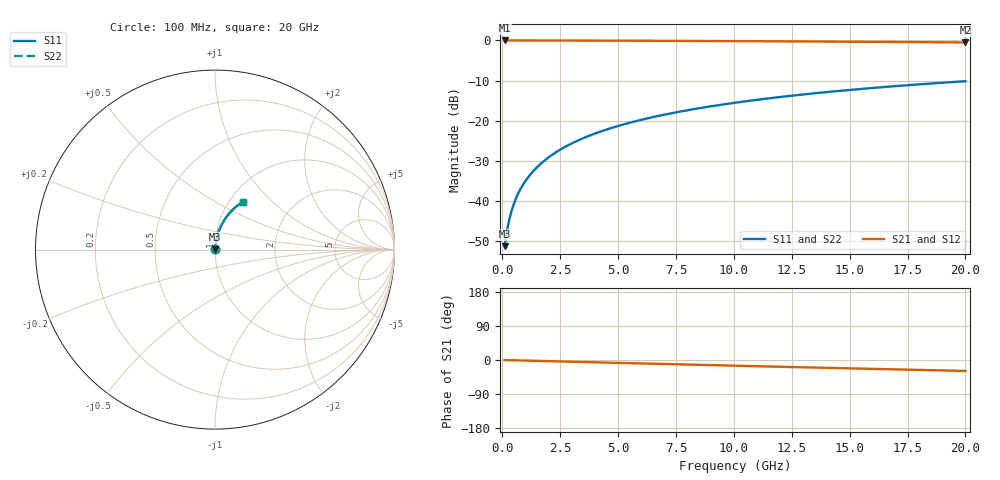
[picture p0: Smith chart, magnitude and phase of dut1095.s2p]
! Touchstone file exported from HFSS 2026.1.0
!  File:  C:/ffzhzh/LocalFiles/Ansys_Project_Files/temp_train_BSMRDL_1095_1783174691_43440.aedt
!  Generated:  10:19:23 PM Jul  4, 2026
!  Design:  BSMRDL
!  Project:  temp_train_BSMRDL_1095_1783174691_43440
! Variables:
!  h_bsmrdl = 4.24um
!  h_ox = 20um
!  h_rdl = 5um
!  h_sub = 80um
!  h_tmrdl = 5um
!  h_tsv = 80um
!  h_via = 3um
!  l_bsmrdl = 376.16um
!  l_sub = 776.16um
!  l_tmrdl = 200um
!  m_sub = 200um
!  pitch = 46.75um
!  r_tsv = 6um
!  s_tmrdl = 10um
!  w_bsmrdl = 16.5um
!  w_sub = 500um
!  w_tmrdl = 12um
!  x_tsv_center1 = 206um
!  x_tsv_center2 = 598.66um
!  x_tsv_center3 = 810.66um
!  x_tsv_center4 = 1203.32um
!  x_tsv_center5 = 1415.32um
!  x_tsv_center6 = 1807.98um
# GHz S MA R 50.000000
! Terminal data exported
! Port[1] = BSM_RDL1_1_T1
! Port[2] = BSM_RDL1_1_T2
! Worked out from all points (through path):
!   200 points, 100 MHz to 20 GHz, reference 50 ohm
!   highest |S21| = -0.02 dB at 100 MHz (marker M1); lowest = -0.5 dB at 20 GHz (marker M2)
!   group delay of S21, straight-line fit = 4.02 ps
!   lowest |S11| = -51.2 dB at 100 MHz (marker M3), VSWR 1.01, Z = 50.2 + j0.186 ohm
!   |S11| at or under -10 dB: start of sweep to end of sweep
!   |S22| runs from -51.2 to -10.2 dB; largest |S21 - S12| = 4.2e-15
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0.1  0.002755 42.2  0.998 -0.2  0.998 -0.2  0.002755 42.2
! Gamma 0 0 0 0
! Port Impedance 50 0 50 0
0.2  0.004237 60.0  0.9979 -0.3  0.9979 -0.3  0.004237 60.0
0.3  0.005884 67.8  0.9978 -0.5  0.9978 -0.5  0.005884 67.8
0.4  0.007569 72.1  0.9977 -0.6  0.9977 -0.6  0.007569 72.1
0.5  0.009265 74.9  0.9977 -0.8  0.9977 -0.8  0.009265 74.9
0.6  0.01097 76.7  0.9976 -0.9  0.9976 -0.9  0.01097 76.7
0.8  0.01439 79.1  0.9975 -1.2  0.9975 -1.2  0.01439 79.1
1.1  0.01955 80.9  0.9973 -1.7  0.9973 -1.7  0.01955 80.9
1.5  0.02646 82.0  0.9971 -2.3  0.9971 -2.3  0.02646 82.0
1.8  0.03165 82.3  0.9968 -2.8  0.9968 -2.8  0.03165 82.3
2.1  0.03683 82.4  0.9966 -3.2  0.9966 -3.2  0.03683 82.4
2.7  0.04716 82.2  0.9959 -4.1  0.9959 -4.1  0.04716 82.2
3.5  0.06085 81.5  0.9948 -5.4  0.9948 -5.4  0.06085 81.5
4.2  0.07272 80.7  0.9937 -6.4  0.9937 -6.4  0.07272 80.7
5  0.08615 79.7  0.9923 -7.6  0.9923 -7.6  0.08615 79.7
5.9  0.1011 78.5  0.9904 -9.0  0.9904 -9.0  0.1011 78.5
6.8  0.1159 77.3  0.9884 -10.3  0.9884 -10.3  0.1159 77.3
8.3  0.1401 75.3  0.9847 -12.5  0.9847 -12.5  0.1401 75.3
10.1  0.1684 72.8  0.9796 -15.1  0.9796 -15.1  0.1684 72.8
13.4  0.2186 68.3  0.9688 -19.8  0.9688 -19.8  0.2186 68.3
16.7  0.2659 63.9  0.9563 -24.4  0.9563 -24.4  0.2659 63.9
20  0.3102 59.6  0.9424 -28.9  0.9424 -28.9  0.3102 59.6
